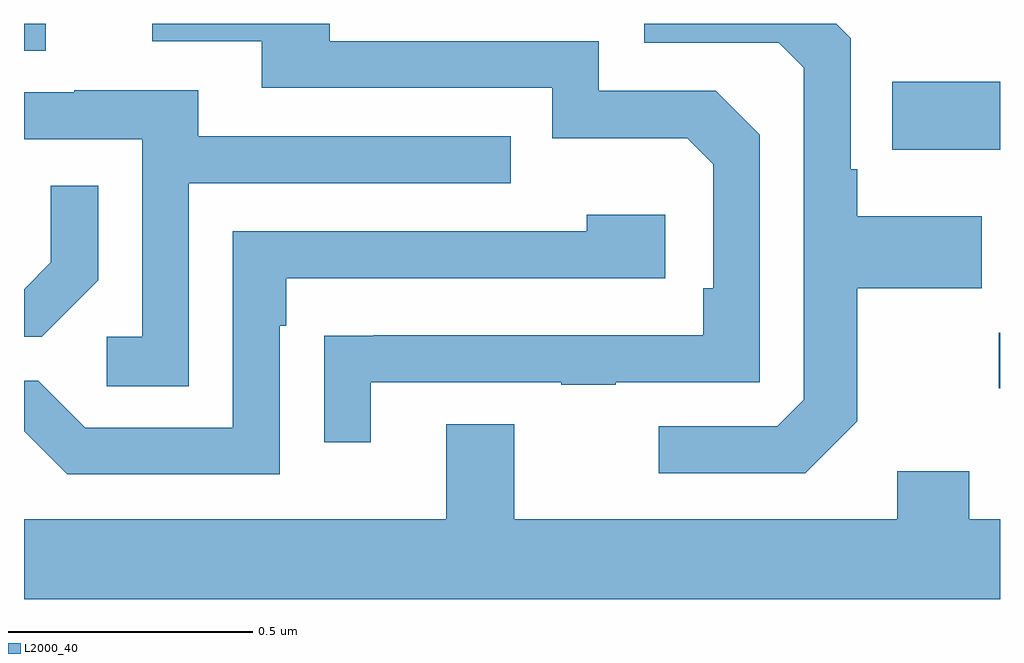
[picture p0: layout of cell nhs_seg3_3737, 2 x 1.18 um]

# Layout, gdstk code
import gdstk
lib = gdstk.Library(unit=1e-6, precision=1e-09)
def R(c, l, rs):  # rectangles x0, y0, x1, y1
    for r in rs: c.add(gdstk.rectangle(r[:2], r[2:], *l))
def P(c, l, *ps):  # polygons
    for p in ps: c.add(gdstk.Polygon(p, *l))
L2000_40 = (2000, 40)

nhs_seg3_3737 = lib.new_cell('nhs_seg3_3737')
R(nhs_seg3_3737, L2000_40, [(158.997,730.653,159,730.766), (158.779,731.141,159,731.281), (157,731.344,157.045,731.4)])
P(nhs_seg3_3737, L2000_40, [(157.711,730.665),(158.101,730.665),(158.101,730.66),(158.213,730.66),(158.213,730.665),(158.508,730.665),(158.508,731.172),(158.418,731.262),(158.178,731.262),(158.178,731.364),(157.627,731.364),(157.627,731.4),(157.263,731.4),(157.263,731.364),(157.487,731.364),(157.487,731.268),(158.082,731.268),(158.082,731.165),(158.359,731.165),(158.412,731.112),(158.412,730.858),(158.392,730.858),(158.392,730.761),(157.717,730.761),(157.717,730.76),(157.615,730.76),(157.615,730.542),(157.711,730.542)],
  [(158.707,730.585),(158.707,730.858),(158.963,730.858),(158.963,731.005),(158.707,731.005),(158.707,731.101),(158.694,731.101),(158.694,731.37),(158.664,731.4),(158.271,731.4),(158.271,731.361),(158.547,731.361),(158.598,731.31),(158.598,730.629),(158.544,730.575),(158.301,730.575),(158.301,730.479),(158.601,730.479)],
  [(157.338,731.073),(157.997,731.073),(157.997,731.169),(157.357,731.169),(157.357,731.263),(157.103,731.263),(157.103,731.259),(157,731.259),(157,731.163),(157.242,731.163),(157.242,730.758),(157.17,730.758),(157.17,730.657),(157.338,730.657)],
  [(157.152,730.874),(157.152,731.068),(157.055,731.068),(157.055,730.911),(157,730.856),(157,730.758),(157.036,730.758)],
  [(157.524,730.781),(157.537,730.781),(157.537,730.878),(158.314,730.878),(158.314,731.008),(158.153,731.008),(158.153,730.974),(157.428,730.974),(157.428,730.572),(157.125,730.572),(157.029,730.668),(157,730.668),(157,730.565),(157.089,730.476),(157.524,730.476)],
  [(159,730.384),(158.937,730.384),(158.937,730.483),(158.789,730.483),(158.789,730.384),(158.005,730.384),(158.005,730.579),(157.865,730.579),(157.865,730.384),(157,730.384),(157,730.22),(159,730.22)])

lib.write_gds('nhs_seg3_3737.gds')
